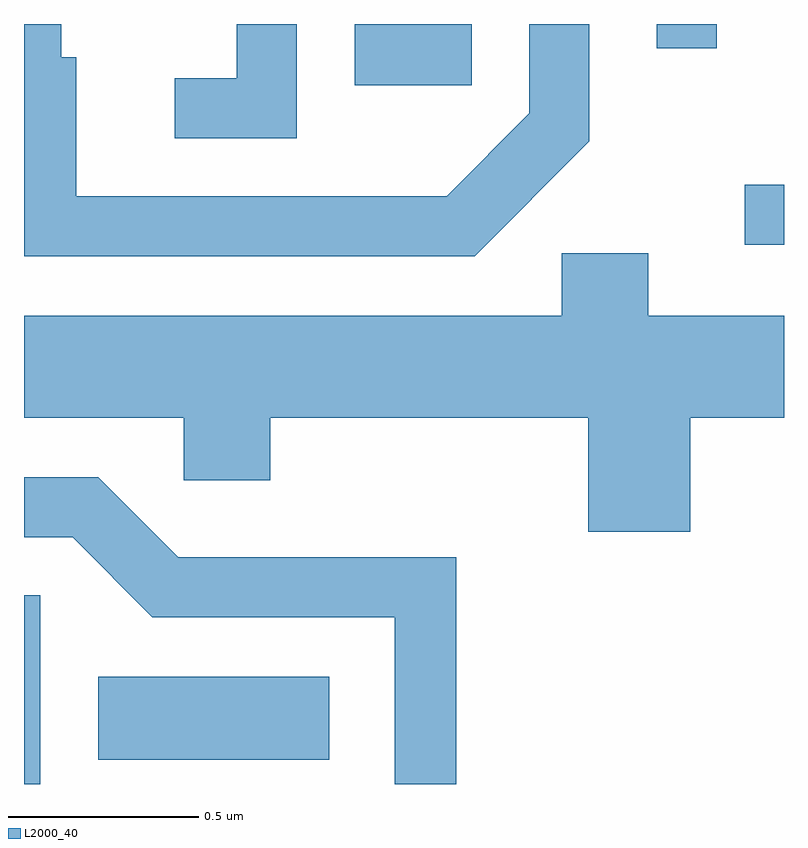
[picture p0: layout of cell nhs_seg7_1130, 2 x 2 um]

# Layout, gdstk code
import gdstk
lib = gdstk.Library(unit=1e-6, precision=1e-09)
def R(c, l, rs):  # rectangles x0, y0, x1, y1
    for r in rs: c.add(gdstk.rectangle(r[:2], r[2:], *l))
def P(c, l, *ps):  # polygons
    for p in ps: c.add(gdstk.Polygon(p, *l))
L2000_40 = (2000, 40)

nhs_seg7_1130 = lib.new_cell('nhs_seg7_1130')
R(nhs_seg7_1130, L2000_40, [(193.611,1702.252,193.654,1702.749), (193.806,1702.316,194.414,1702.534), (195.508,1703.671,195.611,1703.829), (194.481,1704.091,194.789,1704.252), (195.276,1704.188,195.434,1704.252)])
P(nhs_seg7_1130, L2000_40, [(195.099,1703.944),(195.099,1704.252),(194.941,1704.252),(194.941,1704.017),(194.724,1703.799),(193.749,1703.799),(193.749,1704.164),(193.709,1704.164),(193.709,1704.252),(193.611,1704.252),(193.611,1703.641),(194.797,1703.641)],
  [(194.329,1704.252),(194.171,1704.252),(194.171,1704.109),(194.008,1704.109),(194.008,1703.951),(194.329,1703.951)],
  [(195.364,1703.216),(195.611,1703.216),(195.611,1703.484),(195.254,1703.484),(195.254,1703.649),(195.026,1703.649),(195.026,1703.484),(193.611,1703.484),(193.611,1703.216),(194.031,1703.216),(194.031,1703.051),(194.259,1703.051),(194.259,1703.216),(195.096,1703.216),(195.096,1702.916),(195.364,1702.916)],
  [(194.749,1702.849),(194.017,1702.849),(193.807,1703.059),(193.611,1703.059),(193.611,1702.901),(193.739,1702.901),(193.949,1702.691),(194.586,1702.691),(194.586,1702.252),(194.749,1702.252)])

lib.write_gds('nhs_seg7_1130.gds')
